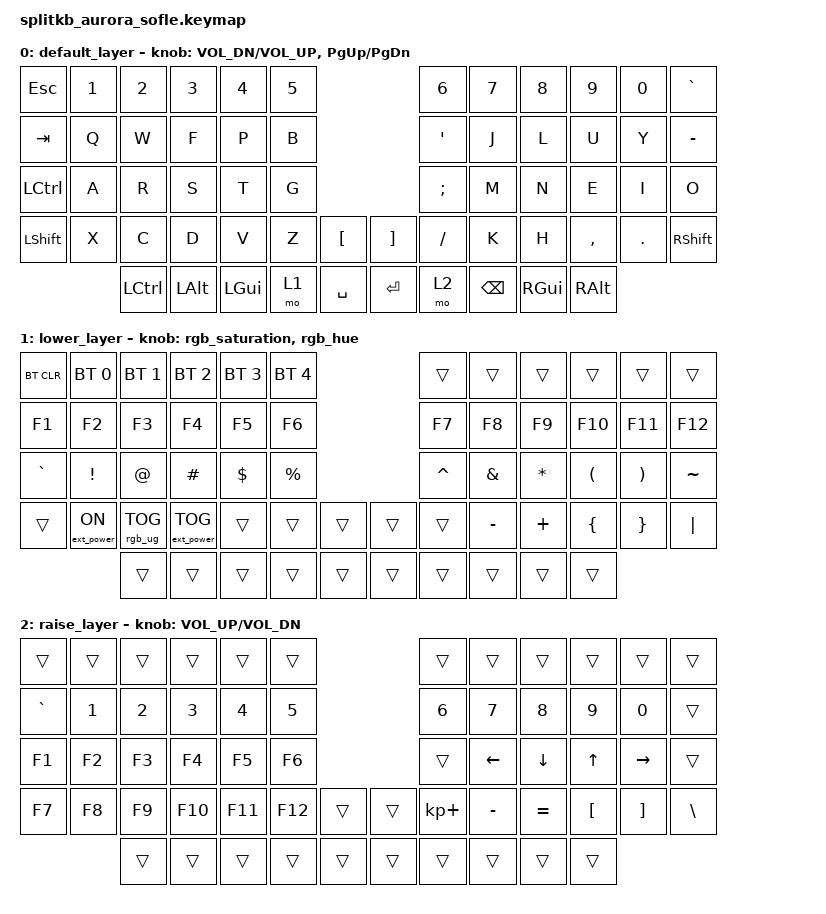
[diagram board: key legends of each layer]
/*
 * Copyright (c) 2023 The ZMK Contributors
 *
 * SPDX-License-Identifier: MIT
 */

#include <behaviors.dtsi>
#include <dt-bindings/zmk/keys.h>
#include <dt-bindings/zmk/bt.h>
#include <dt-bindings/zmk/ext_power.h>
#include <dt-bindings/zmk/rgb.h>

/* Uncomment this block if using RGB
&led_strip {
    chain-length = <6>;
    chain-length = <35>; // Uncomment if using both per-key and underglow LEDs
    // chain-length = <29>; // Uncomment if using only per-key LEDs.
}; 
*/ 
&led_strip { chain-length = <35>; };

/ {

    behaviors {
      rgb_brightness: rgb_brightness {
            compatible = "zmk,behavior-sensor-rotate";
            label = "RGB_BRIGHTNESS";
            #sensor-binding-cells = <0>;
            bindings = <&rgb_ug RGB_BRD>, <&rgb_ug RGB_BRI>;
        };

      rgb_hue: rgb_hue {
            compatible = "zmk,behavior-sensor-rotate";
            label = "RGB_HUE";
            #sensor-binding-cells = <0>;
            bindings = <&rgb_ug RGB_HUI>, <&rgb_ug RGB_HUD>;
        };

      rgb_saturation: rgb_saturation {
            compatible = "zmk,behavior-sensor-rotate";
            label = "RGB_SATURATION";
            #sensor-binding-cells = <0>;
            bindings = <&rgb_ug RGB_SAD>, <&rgb_ug RGB_SAI>;
        };
    };

    keymap {
        compatible = "zmk,keymap";

        default_layer {
// ------------------------------------------------------------------------------------------------------------
// |  ESC  |  1  |  2  |  3   |  4   |  5   |                   |  6   |  7    |  8    |  9   |   0   |   `   |
// |  TAB  |  Q  |  W  |  F   |  P   |  B   |                   |  '   |  J    |  L    |  U   |   Y   |   -   |
// |  CTRL |  A  |  S  |  D   |  F   |  G   |                   |  ;   |  M    |  N    |  E   |   I   |   O   |
// | SHIFT |  Z  |  X  |  C   |  V   |  B   |   "["  |  |  "]"  |  /   |  K    |  H    |  ,   |   .   | SHIFT |
//               |CTRL | ALT  | GUI  | LOWER|  SPACE |  | ENTER | RAISE| BSPC  | GUI   | RALT |
            bindings = <
&kp ESC   &kp N1 &kp N2    &kp N3   &kp N4   &kp N5                     &kp N6 &kp N7   &kp N8    &kp N9   &kp N0   &kp GRAVE
&kp TAB   &kp Q  &kp W     &kp F    &kp P    &kp B                      &kp SQT  &kp J    &kp L     &kp U    &kp Y    &kp MINUS
&kp LCTRL &kp A  &kp R     &kp S    &kp T    &kp G                      &kp SEMI  &kp M    &kp N     &kp E    &kp I &kp O
&kp LSHFT &kp X  &kp C     &kp D    &kp V    &kp Z  &kp LBKT   &kp RBKT &kp FSLH  &kp K    &kp H &kp COMMA  &kp DOT &kp RSHFT
                 &kp LCTRL &kp LALT &kp LGUI &mo 1  &kp SPACE  &kp RET  &mo 2  &kp BSPC &kp RGUI  &kp RALT
            >;

           sensor-bindings = <&inc_dec_kp C_VOL_DN C_VOL_UP &inc_dec_kp PG_UP PG_DN>; 
        };

        lower_layer {
// ------------------------------------------------------------------------------------------------------------
// | BTCLR | BT1 | BT2 |  BT3 |  BT4 |  BT5 |                   |      |       |       |      |       |       |
// |  F1   |  F2 |  F3 |  F4  |  F5  |  F6  |                   |  F7  |  F8   |  F9   |  F10 |  F11  |  F12  |
// |   `   |  !  |  @  |  #   |  $   |  %   |                   |  ^   |  &    |  *    |  (   |   )   |   ~   |
// |       |     |     |      |      |      |        |  |       |      |  _    |  +    |  {   |   }   |  "|"  |
//               |     |      |      |      |        |  |       |      |       |       |      |
            bindings = <
&bt BT_CLR &bt BT_SEL 0     &bt BT_SEL 1      &bt BT_SEL 2      &bt BT_SEL 3 &bt BT_SEL 4                 &trans    &trans    &trans    &trans    &trans    &trans
&kp F1     &kp F2           &kp F3            &kp F4            &kp F5       &kp F6                       &kp F7    &kp F8    &kp F9    &kp F10   &kp F11   &kp F12
&kp GRAVE  &kp EXCL         &kp AT            &kp HASH          &kp DOLLAR   &kp PRCNT                    &kp CARET &kp AMPS  &kp STAR  &kp LPAR  &kp RPAR  &kp TILDE
&trans     &ext_power EP_ON &rgb_ug RGB_TOG   &ext_power EP_TOG &trans       &trans    &trans   &trans    &trans    &kp MINUS &kp PLUS  &kp LBRC  &kp RBRC  &kp PIPE
                            &trans            &trans            &trans       &trans    &trans   &trans    &trans    &trans    &trans    &trans
            >;

           sensor-bindings = <&rgb_saturation &rgb_hue>; 
        };

        raise_layer {
// ------------------------------------------------------------------------------------------------------------
// |       |     |     |      |      |      |                   |      |       |       |      |       |       |
// |   `   |  1  |  2  |  3   |  4   |  5   |                   |  6   |   7   |   8   |  9   |   0   |       |
// |   F1  |  F2 |  F3 |  F4  |  F5  |  F6  |                   |      |   <-  |   v   |  ^   |  ->   |       |
// |   F7  |  F8 |  F9 |  F10 |  F11 |  F12 |        |  |       |  +   |   -   |   =   |  [   |   ]   |   \   |
//               |     |      |      |      |        |  |       |      |       |       |      |
            bindings = <
&trans    &trans &trans &trans  &trans  &trans                       &trans      &trans    &trans    &trans   &trans    &trans
&kp GRAVE &kp N1 &kp N2 &kp N3  &kp N4  &kp N5                       &kp N6      &kp N7    &kp N8    &kp N9   &kp N0    &trans
&kp F1    &kp F2 &kp F3 &kp F4  &kp F5  &kp F6                       &trans      &kp LEFT  &kp DOWN  &kp UP   &kp RIGHT &trans
&kp F7    &kp F8 &kp F9 &kp F10 &kp F11 &kp F12   &trans   &trans    &kp KP_PLUS &kp MINUS &kp EQUAL &kp LBKT &kp RBKT  &kp BSLH
                 &trans &trans  &trans  &trans    &trans   &trans    &trans      &trans    &trans    &trans
            >;

            sensor-bindings = <&inc_dec_kp C_VOL_UP C_VOL_DN>;
        };
    };
};
